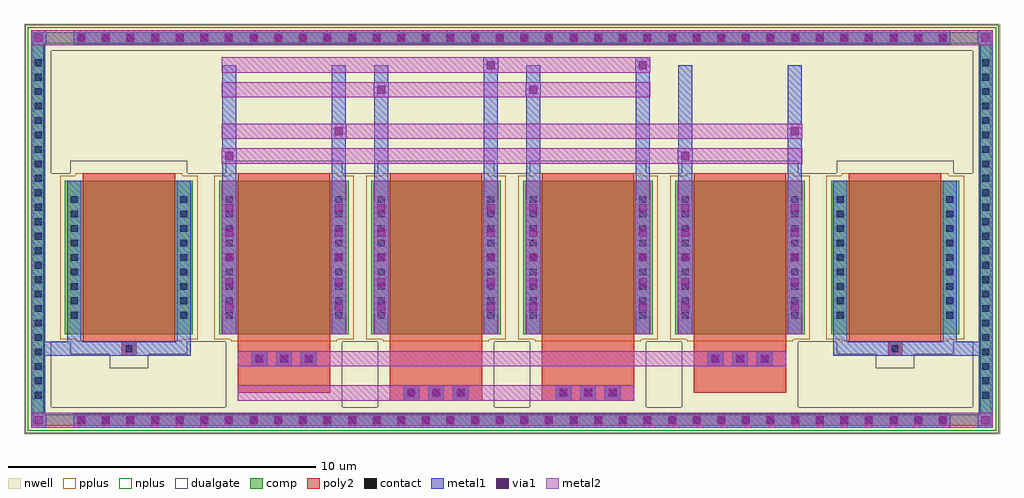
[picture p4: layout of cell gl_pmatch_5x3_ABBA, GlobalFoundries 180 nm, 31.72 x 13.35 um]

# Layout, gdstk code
import gdstk
lib = gdstk.Library(unit=1e-6, precision=1e-09)
def R(c, l, rs):  # rectangles x0, y0, x1, y1
    for r in rs: c.add(gdstk.rectangle(r[:2], r[2:], *l))
def A(c, l, x, y, w, h, nx, ny, dx, dy):  # array of equal rectangles
    R(c, l, [(x+i*dx, y+j*dy, x+i*dx+w, y+j*dy+h) for i in range(nx) for j in range(ny)])
nwell = (21, 0)
comp = (22, 0)
poly2 = (30, 0)
pplus = (31, 0)
nplus = (32, 0)
contact = (33, 0)
metal1 = (34, 0)
via1 = (35, 0)
metal2 = (36, 0)
dualgate = (55, 0)

gl_pmatch_5x3_abba = lib.new_cell('gl_pmatch_5x3_ABBA')
R(gl_pmatch_5x3_abba, nwell, [(-15.86,-6.675,15.86,6.675)])
A(gl_pmatch_5x3_abba, comp, -9.51, -3.425, 4.2, 5, 4, 1, 4.94, 0)
R(gl_pmatch_5x3_abba, comp, [(-15.58,-6.395,15.58,-6.035), (-15.58,-6.035,-15.22,6.035), (15.22,-6.035,15.58,6.035), (-14.53,-3.425,-10.37,1.575), (10.37,-3.425,14.53,1.575), (-15.58,6.035,15.58,6.395)])
R(gl_pmatch_5x3_abba, poly2, [(-3.97,-5.575,-0.97,1.815), (0.97,-5.575,3.97,1.815), (-8.91,-5.325,-5.91,1.815), (5.91,-5.325,8.91,1.815), (-12.68,-4.125,-12.22,-3.665), (12.22,-4.125,12.68,-3.665), (-13.95,-3.665,-10.95,1.815), (10.95,-3.665,13.95,1.815)])
A(gl_pmatch_5x3_abba, pplus, -9.14, -3.655, 3.46, 0.07, 4, 2, 4.94, 5.39)
A(gl_pmatch_5x3_abba, pplus, -9.67, -3.585, 4.52, 5.32, 4, 1, 4.94, 0)
R(gl_pmatch_5x3_abba, pplus, [(-14.18,-3.655,-10.72,-3.585), (10.72,-3.655,14.18,-3.585), (-14.69,-3.585,-10.21,1.735), (10.21,-3.585,14.69,1.735), (-14.18,1.735,-10.72,1.805), (10.72,1.735,14.18,1.805)])
R(gl_pmatch_5x3_abba, nplus, [(-15.74,-6.555,15.74,-6.015), (-15.74,-6.015,-15.19,6.015), (-14.21,-6.015,14.21,-6.005), (15.19,-6.015,15.74,6.015), (-14.21,6.005,14.21,6.015), (-15.74,6.015,15.74,6.555)])
A(gl_pmatch_5x3_abba, contact, -14.11, -6.325, 0.22, 0.22, 36, 2, 0.8, 12.43)
A(gl_pmatch_5x3_abba, contact, -15.51, -5.515, 0.22, 0.22, 1, 24, 0, 0.47)
A(gl_pmatch_5x3_abba, contact, 15.29, -5.515, 0.22, 0.22, 1, 24, 0, 0.47)
A(gl_pmatch_5x3_abba, contact, -3.38, -5.435, 0.22, 0.22, 3, 1, 0.8, 0)
A(gl_pmatch_5x3_abba, contact, 1.56, -5.435, 0.22, 0.22, 3, 1, 0.8, 0)
A(gl_pmatch_5x3_abba, contact, -8.32, -4.325, 0.22, 0.22, 3, 1, 0.8, 0)
A(gl_pmatch_5x3_abba, contact, 6.5, -4.325, 0.22, 0.22, 3, 1, 0.8, 0)
A(gl_pmatch_5x3_abba, contact, -14.34, -2.915, 0.22, 0.22, 1, 9, 0, 0.47)
A(gl_pmatch_5x3_abba, contact, -10.78, -2.915, 0.22, 0.22, 1, 9, 0, 0.47)
A(gl_pmatch_5x3_abba, contact, -9.3, -2.915, 0.22, 0.22, 1, 9, 0, 0.47)
A(gl_pmatch_5x3_abba, contact, -5.74, -2.915, 0.22, 0.22, 1, 9, 0, 0.47)
A(gl_pmatch_5x3_abba, contact, -4.36, -2.915, 0.22, 0.22, 1, 9, 0, 0.47)
A(gl_pmatch_5x3_abba, contact, -0.8, -2.915, 0.22, 0.22, 1, 9, 0, 0.47)
A(gl_pmatch_5x3_abba, contact, 0.58, -2.915, 0.22, 0.22, 1, 9, 0, 0.47)
A(gl_pmatch_5x3_abba, contact, 4.14, -2.915, 0.22, 0.22, 1, 9, 0, 0.47)
A(gl_pmatch_5x3_abba, contact, 5.52, -2.915, 0.22, 0.22, 1, 9, 0, 0.47)
A(gl_pmatch_5x3_abba, contact, 9.08, -2.915, 0.22, 0.22, 1, 9, 0, 0.47)
A(gl_pmatch_5x3_abba, contact, 10.56, -2.915, 0.22, 0.22, 1, 9, 0, 0.47)
A(gl_pmatch_5x3_abba, contact, 14.12, -2.915, 0.22, 0.22, 1, 9, 0, 0.47)
R(gl_pmatch_5x3_abba, contact, [(-12.56,-4.005,-12.34,-3.785), (12.34,-4.005,12.56,-3.785)])
A(gl_pmatch_5x3_abba, metal1, -3.52, -5.575, 0.5, 0.5, 3, 1, 0.8, 0)
A(gl_pmatch_5x3_abba, metal1, 1.42, -5.575, 0.5, 0.5, 3, 1, 0.8, 0)
A(gl_pmatch_5x3_abba, metal1, -8.46, -4.465, 0.5, 0.5, 3, 1, 0.8, 0)
A(gl_pmatch_5x3_abba, metal1, 6.36, -4.465, 0.5, 0.5, 3, 1, 0.8, 0)
R(gl_pmatch_5x3_abba, metal1, [(-15.63,-6.465,-15.13,-5.965), (-14.25,-6.465,14.25,-5.965), (15.13,-6.465,15.63,-5.965), (-15.63,-5.965,-15.17,-4.125), (15.17,-5.965,15.63,-4.125), (-15.63,-4.125,-10.44,-3.665), (10.44,-4.125,15.63,-3.665), (-15.63,-3.665,-15.17,5.965), (-14.46,-3.665,-14,1.575), (-10.9,-3.665,-10.44,1.575), (10.44,-3.665,10.9,1.575), (14,-3.665,14.46,1.575), (15.17,-3.665,15.63,5.965), (-9.42,-3.425,-8.96,-2.775), (-5.86,-3.425,-5.4,-2.775), (-4.48,-3.425,-4.02,-2.775), (-0.92,-3.425,-0.46,-2.775), (0.46,-3.425,0.92,-2.775), (4.02,-3.425,4.48,-2.775), (5.4,-3.425,5.86,-2.775), (8.96,-3.425,9.42,-2.775), (-9.44,-2.775,-8.94,0.925), (-5.88,-2.775,-5.38,0.925), (-4.5,-2.775,-4,0.925), (-0.94,-2.775,-0.44,0.925), (0.44,-2.775,0.94,0.925), (4,-2.775,4.5,0.925), (5.38,-2.775,5.88,0.925), (8.94,-2.775,9.44,0.925), (-9.42,0.925,-8.96,2.125), (-5.86,0.925,-5.4,2.925), (-4.48,0.925,-4.02,4.275), (-0.92,0.925,-0.46,5.075), (0.46,0.925,0.92,4.275), (4.02,0.925,4.48,5.075), (5.4,0.925,5.86,2.125), (8.96,0.925,9.42,2.925), (-9.44,2.125,-8.94,2.625), (5.38,2.125,5.88,2.625), (-9.42,2.625,-8.96,5.325), (5.4,2.625,5.86,5.325), (-5.88,2.925,-5.38,3.425), (8.94,2.925,9.44,3.425), (-5.86,3.425,-5.4,5.325), (8.96,3.425,9.42,5.325), (-4.5,4.275,-4,4.775), (0.44,4.275,0.94,4.775), (-4.48,4.775,-4.02,5.325), (0.46,4.775,0.92,5.325), (-0.94,5.075,-0.44,5.575), (4,5.075,4.5,5.575), (-15.63,5.965,-15.13,6.465), (-14.25,5.965,14.25,6.465), (15.13,5.965,15.63,6.465)])
A(gl_pmatch_5x3_abba, via1, -14.13, -6.345, 0.26, 0.26, 36, 2, 0.8, 12.43)
A(gl_pmatch_5x3_abba, via1, -3.4, -5.455, 0.26, 0.26, 3, 1, 0.8, 0)
A(gl_pmatch_5x3_abba, via1, 1.54, -5.455, 0.26, 0.26, 3, 1, 0.8, 0)
A(gl_pmatch_5x3_abba, via1, -8.34, -4.345, 0.26, 0.26, 3, 1, 0.8, 0)
A(gl_pmatch_5x3_abba, via1, 6.48, -4.345, 0.26, 0.26, 3, 1, 0.8, 0)
A(gl_pmatch_5x3_abba, via1, -9.32, -2.655, 0.26, 0.26, 1, 5, 0, 0.8)
A(gl_pmatch_5x3_abba, via1, -5.76, -2.655, 0.26, 0.26, 1, 5, 0, 0.8)
A(gl_pmatch_5x3_abba, via1, -4.38, -2.655, 0.26, 0.26, 1, 5, 0, 0.8)
A(gl_pmatch_5x3_abba, via1, -0.82, -2.655, 0.26, 0.26, 1, 5, 0, 0.8)
A(gl_pmatch_5x3_abba, via1, 0.56, -2.655, 0.26, 0.26, 1, 5, 0, 0.8)
A(gl_pmatch_5x3_abba, via1, 4.12, -2.655, 0.26, 0.26, 1, 5, 0, 0.8)
A(gl_pmatch_5x3_abba, via1, 5.5, -2.655, 0.26, 0.26, 1, 5, 0, 0.8)
A(gl_pmatch_5x3_abba, via1, 9.06, -2.655, 0.26, 0.26, 1, 5, 0, 0.8)
R(gl_pmatch_5x3_abba, via1, [(-15.51,-6.345,-15.25,-6.085), (15.25,-6.345,15.51,-6.085), (-9.32,2.245,-9.06,2.505), (5.5,2.245,5.76,2.505), (-5.76,3.045,-5.5,3.305), (9.06,3.045,9.32,3.305), (-4.38,4.395,-4.12,4.655), (0.56,4.395,0.82,4.655), (-0.82,5.195,-0.56,5.455), (4.12,5.195,4.38,5.455), (-15.51,6.085,-15.25,6.345), (15.25,6.085,15.51,6.345)])
R(gl_pmatch_5x3_abba, metal2, [(-15.63,-6.465,15.63,-5.965), (-8.91,-5.575,3.97,-5.075), (-8.91,-4.465,8.91,-3.965), (-9.44,-3.425,-8.94,1.575), (-5.88,-3.425,-5.38,1.575), (-4.5,-3.425,-4,1.575), (-0.94,-3.425,-0.44,1.575), (0.44,-3.425,0.94,1.575), (4,-3.425,4.5,1.575), (5.38,-3.425,5.88,1.575), (8.94,-3.425,9.44,1.575), (-9.44,2.125,9.44,2.625), (-9.44,2.925,9.44,3.425), (-9.44,4.275,4.5,4.775), (-9.44,5.075,4.5,5.575), (-15.63,5.965,15.63,6.465)])
A(gl_pmatch_5x3_abba, dualgate, -9.31, -5.795, 3.8, 2.13, 4, 1, 4.94, 0)
A(gl_pmatch_5x3_abba, dualgate, -9.31, 1.815, 3.8, 0.4, 4, 1, 4.94, 0)
R(gl_pmatch_5x3_abba, dualgate, [(-15.82,-6.635,15.82,-5.795), (-15.82,-5.795,-14.98,-3.665), (14.98,-5.795,15.82,-3.665), (-13.08,-4.525,-11.82,-4.065), (11.82,-4.525,13.08,-4.065), (-14.35,-4.065,-10.55,-3.665), (10.55,-4.065,14.35,-3.665), (-15.82,-3.665,15.82,1.815), (-15.82,1.815,-14.98,5.795), (-14.35,1.815,-10.55,2.215), (10.55,1.815,14.35,2.215), (14.98,1.815,15.82,5.795), (-15.82,5.795,15.82,6.635)])

lib.write_gds('gl_pmatch_5x3_ABBA.gds')
